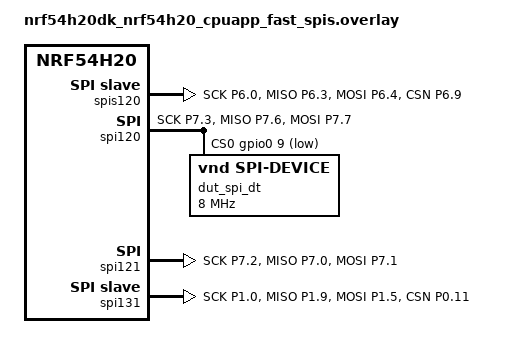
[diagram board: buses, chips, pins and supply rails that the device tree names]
/*
 * Copyright (c) 2025 Nordic Semiconductor
 *
 * SPDX-License-Identifier: Apache-2.0
 */

&pinctrl {
	spis120_default_alt: spis120_default_alt {
		group1 {
			psels = <NRF_PSEL(SPIS_SCK, 6, 0)>,
				<NRF_PSEL(SPIS_MISO, 6, 3)>,
				<NRF_PSEL(SPIS_MOSI, 6, 4)>,
				<NRF_PSEL(SPIS_CSN, 6, 9)>;
		};
	};

	spis120_sleep_alt: spis120_sleep_alt {
		group1 {
			psels = <NRF_PSEL(SPIS_SCK, 6, 0)>,
				<NRF_PSEL(SPIS_MISO, 6, 3)>,
				<NRF_PSEL(SPIS_MOSI, 6, 4)>,
				<NRF_PSEL(SPIS_CSN, 6, 9)>;
			low-power-enable;
		};
	};

	spi120_default_alt: spi120_default_alt {
		group1 {
			psels = <NRF_PSEL(SPIM_SCK, 7, 3)>,
				<NRF_PSEL(SPIM_MISO, 7, 6)>,
				<NRF_PSEL(SPIM_MOSI, 7, 7)>;
		};
	};

	spi120_sleep_alt: spi120_sleep_alt {
		group1 {
			psels = <NRF_PSEL(SPIM_SCK, 7, 3)>,
				<NRF_PSEL(SPIM_MISO, 7, 6)>,
				<NRF_PSEL(SPIM_MOSI, 7, 7)>;
			low-power-enable;
		};
	};

	spi121_default_alt: spi121_default_alt {
		group1 {
			psels = <NRF_PSEL(SPIM_SCK, 7, 2)>,
				<NRF_PSEL(SPIM_MISO, 7, 0)>,
				<NRF_PSEL(SPIM_MOSI, 7, 1)>;
		};
	};

	spi121_sleep_alt: spi121_sleep_alt {
		group1 {
			psels = <NRF_PSEL(SPIM_SCK, 7, 2)>,
				<NRF_PSEL(SPIM_MISO, 7, 0)>,
				<NRF_PSEL(SPIM_MOSI, 7, 1)>;
			low-power-enable;
		};
	};

	spis131_default_alt: spis131_default_alt {
		group1 {
			psels = <NRF_PSEL(SPIS_SCK, 1, 0)>,
				<NRF_PSEL(SPIS_MISO, 1, 9)>,
				<NRF_PSEL(SPIS_MOSI, 1, 5)>,
				<NRF_PSEL(SPIS_CSN, 0, 11)>;
		};
	};

	spis131_sleep_alt: spis131_sleep_alt {
		group1 {
			psels = <NRF_PSEL(SPIS_SCK, 1, 0)>,
				<NRF_PSEL(SPIS_MISO, 1, 9)>,
				<NRF_PSEL(SPIS_MOSI, 1, 5)>,
				<NRF_PSEL(SPIS_CSN, 0, 11)>;
			low-power-enable;
		};
	};
};

&gpio0 {
	status = "okay";
};

&dma_fast_region {
	status = "okay";
};

&spis120 {
	compatible = "nordic,nrf-spis";
	status = "okay";
	def-char = <0x00>;
	pinctrl-0 = <&spis120_default_alt>;
	pinctrl-1 = <&spis120_sleep_alt>;
	pinctrl-names = "default", "sleep";
	memory-regions = <&dma_fast_region>;
};

&spi120 {
	compatible = "nordic,nrf-spim";
	status = "okay";
	pinctrl-0 = <&spi120_default_alt>;
	pinctrl-1 = <&spi120_sleep_alt>;
	pinctrl-names = "default", "sleep";
	overrun-character = <0x00>;
	memory-regions = <&dma_fast_region>;
	cs-gpios = <&gpio0 9 GPIO_ACTIVE_LOW>;
	zephyr,pm-device-runtime-auto;
	dut_spi_dt: test-spi-dev@0 {
		compatible = "vnd,spi-device";
		reg = <0>;
		spi-max-frequency = <DT_FREQ_M(8)>;
	};
};

&spi121 {
	compatible = "nordic,nrf-spim";
	status = "okay";
	pinctrl-0 = <&spi121_default_alt>;
	pinctrl-1 = <&spi121_sleep_alt>;
	pinctrl-names = "default", "sleep";
	overrun-character = <0x00>;
	memory-regions = <&dma_fast_region>;
	cs-gpios = <&gpio0 10 GPIO_ACTIVE_LOW>;
	zephyr,pm-device-runtime-auto;
};

dut_spis: &spi131 {
	compatible = "nordic,nrf-spis";
	status = "okay";
	def-char = <0x00>;
	pinctrl-0 = <&spis131_default_alt>;
	pinctrl-1 = <&spis131_sleep_alt>;
	pinctrl-names = "default", "sleep";
	memory-regions = <&cpuapp_dma_region>;
	/delete-property/rx-delay-supported;
	/delete-property/rx-delay;
};
